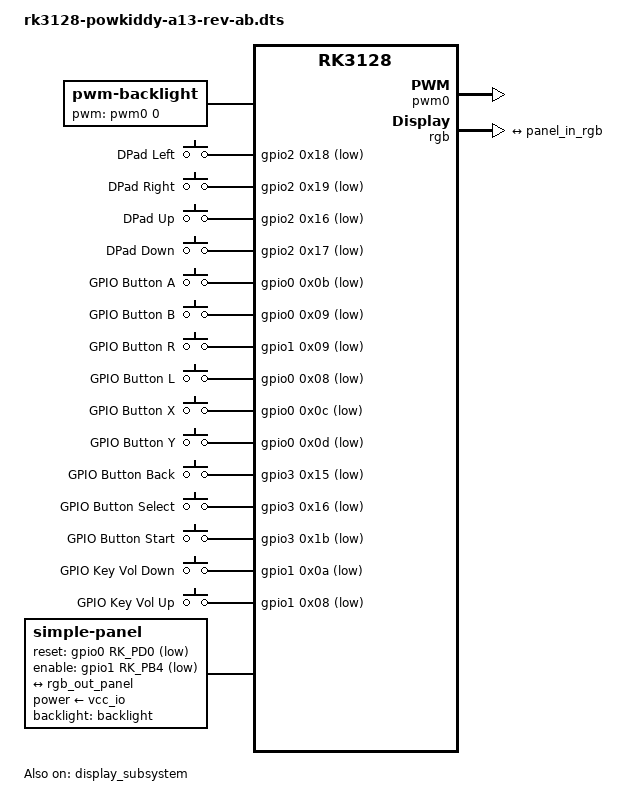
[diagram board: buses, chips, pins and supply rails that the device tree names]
/*
 * (C) Copyright 2021 Martin Cerveny
 *                    Alberto Pérez García-Plaza
 *
 * SPDX-License-Identifier:     GPL-2.0+
 */

/dts-v1/;

#include "rk3128-wx8.dtsi"
#include <dt-bindings/input/rk-input.h>

&pinctrl {
	lcdc {
		lcd_enable: lcd-enable {
			rockchip,pins = <RK_GPIO1 RK_PB4 0 &pcfg_pull_none>;
		};

		lcd_reset: lcd-reset {
			rockchip,pins = <RK_GPIO0 RK_PD0 0 &pcfg_pull_none>;
		};

  	lcdc_rgb_pins: lcdc-rgb-pins {
			rockchip,pins =
				<2 RK_PB0 1 &pcfg_pull_none>,	/* LCDC_DCLK */
				<2 RK_PB1 1 &pcfg_pull_none>,	/* LCDC_HSYNC */
				<2 RK_PB2 1 &pcfg_pull_none>,	/* LCDC_VSYNC */
				<2 RK_PB3 1 &pcfg_pull_none>,	/* LCDC_DEN */
				<2 RK_PB4 1 &pcfg_pull_none>,	/* LCDC_DATA10 */
				<2 RK_PB5 1 &pcfg_pull_none>,	/* LCDC_DATA11 */
				<2 RK_PB6 1 &pcfg_pull_none>,	/* LCDC_DATA12 */
				<2 RK_PB7 1 &pcfg_pull_none>,	/* LCDC_DATA13 */
				<2 RK_PC0 1 &pcfg_pull_none>,	/* LCDC_DATA14 */
				<2 RK_PC1 1 &pcfg_pull_none>,	/* LCDC_DATA15 */
				<2 RK_PC2 1 &pcfg_pull_none>,	/* LCDC_DATA16 */
				<2 RK_PC3 1 &pcfg_pull_none>;	/* LCDC_DATA17 */
		};

		lcdc_sleep_pins: lcdc-sleep-pins {
			rockchip,pins =
				<2 RK_PB0 0 &pcfg_pull_none>,	/* LCDC_DCLK */
				<2 RK_PB1 0 &pcfg_pull_none>,	/* LCDC_HSYNC */
				<2 RK_PB2 0 &pcfg_pull_none>,	/* LCDC_VSYNC */
				<2 RK_PB3 0 &pcfg_pull_none>,	/* LCDC_DEN */
				<2 RK_PB4 0 &pcfg_pull_none>,	/* LCDC_DATA10 */
				<2 RK_PB5 0 &pcfg_pull_none>,	/* LCDC_DATA11 */
				<2 RK_PB6 0 &pcfg_pull_none>,	/* LCDC_DATA12 */
				<2 RK_PB7 0 &pcfg_pull_none>,	/* LCDC_DATA13 */
				<2 RK_PC0 0 &pcfg_pull_none>,	/* LCDC_DATA14 */
				<2 RK_PC1 0 &pcfg_pull_none>,	/* LCDC_DATA15 */
				<2 RK_PC2 0 &pcfg_pull_none>,	/* LCDC_DATA16 */
				<2 RK_PC3 0 &pcfg_pull_none>;	/* LCDC_DATA17 */
		};

	};

	buttons {

    arcade_stick: arcade-stick {
      rockchip,pins = <
           RK_GPIO2 0x16 0x00 &pcfg_pull_default
           RK_GPIO2 0x17 0x00 &pcfg_pull_default
           RK_GPIO2 0x18 0x00 &pcfg_pull_default
           RK_GPIO2 0x19 0x00 &pcfg_pull_default
           RK_GPIO0 0x0b 0x00 &pcfg_pull_default
           RK_GPIO0 0x09 0x00 &pcfg_pull_default
           RK_GPIO0 0x0c 0x00 &pcfg_pull_default
           RK_GPIO0 0x0d 0x00 &pcfg_pull_default
           RK_GPIO0 0x08 0x00 &pcfg_pull_default
           RK_GPIO1 0x09 0x00 &pcfg_pull_default
           RK_GPIO3 0x16 0x00 &pcfg_pull_default
           RK_GPIO3 0x1b 0x00 &pcfg_pull_default
           RK_GPIO1 0x0a 0x00 &pcfg_pull_default
           RK_GPIO1 0x08 0x00 &pcfg_pull_default
           RK_GPIO3 0x15 0x00 &pcfg_pull_default
           >;
    };
	};
};

/ {
	backlight: backlight {
		compatible = "pwm-backlight";
		pwms = <&pwm0 0 25000 0>;
		default-brightness-level = <200>;
		brightness-levels = <
			  0   1   2   3   4   5   6   7
			  8   9  10  11  12  13  14  15
			 16  17  18  19  20  21  22  23
			 24  25  26  27  28  29  30  31
			 32  33  34  35  36  37  38  39
			 40  41  42  43  44  45  46  47
			 48  49  50  51  52  53  54  55
			 56  57  58  59  60  61  62  63
			 64  65  66  67  68  69  70  71
			 72  73  74  75  76  77  78  79
			 80  81  82  83  84  85  86  87
			 88  89  90  91  92  93  94  95
			 96  97  98  99 100 101 102 103
			104 105 106 107 108 109 110 111
			112 113 114 115 116 117 118 119
			120 121 122 123 124 125 126 127
			128 129 130 131 132 133 134 135
			136 137 138 139 140 141 142 143
			144 145 146 147 148 149 150 151
			152 153 154 155 156 157 158 159
			160 161 162 163 164 165 166 167
			168 169 170 171 172 173 174 175
			176 177 178 179 180 181 182 183
			184 185 186 187 188 189 190 191
			192 193 194 195 196 197 198 199
			200 201 202 203 204 205 206 207
			208 209 210 211 212 213 214 215
			216 217 218 219 220 221 222 223
			224 225 226 227 228 229 230 231
			232 233 234 235 236 237 238 239
			240 241 242 243 244 245 246 247
			248 249 250 251 252 253 254 255>;
		status = "okay";

	};

  stick {
    compatible = "gpio-keys-polled";
    poll-interval = <20>;
    pinctrl-0 = <&arcade_stick>;
		pinctrl-names = "default";

    left {
        label = "DPad Left";
        linux,code = <BTN_DPAD_LEFT>;
        gpios = <&gpio2 0x18 GPIO_ACTIVE_LOW>;
    };
    right {
        label = "DPad Right";
        linux,code = <BTN_DPAD_RIGHT>;
        gpios = <&gpio2 0x19 GPIO_ACTIVE_LOW>;
    };

    up {
        label = "DPad Up";
        linux,code = <BTN_DPAD_UP>;
        gpios = <&gpio2 0x16 GPIO_ACTIVE_LOW>;
    };
    down {
        label = "DPad Down";
        linux,code = <BTN_DPAD_DOWN>;
        gpios = <&gpio2 0x17 GPIO_ACTIVE_LOW>;
    };

    f1 {
      gpios = <&gpio0 0x0b 0x01>;
      label = "GPIO Button A";
      linux,code = <BTN_A>;
    };

    f2 {
      gpios = <&gpio0 0x09 0x01>;
      label = "GPIO Button B";
      linux,code = <BTN_B>;
    };

    f3 {
      gpios = <&gpio1 0x09 0x01>;
      label = "GPIO Button R";
      linux,code = <BTN_TR>;
    };

    f4 {
      gpios = <&gpio0 0x08 0x01>;
      label = "GPIO Button L";
      linux,code = <BTN_TL>;
    };

    f5 {
      gpios = <&gpio0 0x0c 0x01>;
      label = "GPIO Button X";
      linux,code = <BTN_X>;
    };

    f6 {
      gpios = <&gpio0 0x0d 0x01>;
      label = "GPIO Button Y";
      linux,code = <BTN_Y>;
    };

    f7 {
      gpios = <&gpio3 0x15 0x01>;
      label = "GPIO Button Back";
      linux,code = <BTN_BACK>;
    };

    select {
      gpios = <&gpio3 0x16 0x01>;
      label = "GPIO Button Select";
      linux,code = <BTN_SELECT>;
    };

    start {
      gpios = <&gpio3 0x1b 0x01>;
      label = "GPIO Button Start";
      linux,code = <BTN_START>;
    };

    vol-down-key {
      gpios = <&gpio1 0x0a 0x01>;
      label = "GPIO Key Vol Down";
      linux,code = <KEY_VOLUMEDOWN>;
    };

    vol-up-key {
      gpios = <&gpio1 0x08 0x01>;
      label = "GPIO Key Vol Up";
      linux,code = <KEY_VOLUMEUP>;
    };

  };

  panel {
		compatible = "simple-panel";
		power-supply = <&vcc_io>;
		backlight = <&backlight>;
		pinctrl-names = "default";
		pinctrl-0 = <&lcd_reset &lcd_enable>;
		reset-gpios = <&gpio0 RK_PD0 GPIO_ACTIVE_LOW>;
		enable-gpios = <&gpio1 RK_PB4 GPIO_ACTIVE_LOW>;
		reset-delay-ms = <60>;
		enable-delay-ms = <150>;
		prepare-delay-ms = <100>;
		unprepare-delay-ms = <2000>;
		init-delay-ms = <1000>;

		height-mm = <86>;
		width-mm = <154>;
		bus-format = <4105>;

		display-timings {
			native-mode = <&timing0>;

			timing0: timing0 {
				clock-frequency = <75200000>;

				hactive = <1024>;
				vactive = <600>;

        hback-porch = <160>;
        hfront-porch = <160>;
        hsync-active = <0>;
        hsync-len = <10>;
        vback-porch = <23>;
        vfront-porch = <12>;
        vsync-active = <0>;
        vsync-len = <10>;

        de-active = <0>;
        pixelclk-active = <1>;
			};
		};

		port {
			panel_in_rgb: endpoint {
				remote-endpoint = <&rgb_out_panel>;
			};
		};
	};
};

&pwm0 {
	status = "okay";
};

&display_subsystem {
	status = "okay";
	logo-memory-region = <&drm_logo>;

	route {
		route_rgb: route-rgb {
			connect = <&vop_out_rgb>;
			status = "okay";
		};

		route_hdmi: route-hdmi {
			connect = <&vop_out_hdmi>;
			status = "okay";
		};
	};

};

&rgb {
	status = "okay";

	ports {
		port@1 {
			reg = <1>;

			rgb_out_panel: endpoint {
				remote-endpoint = <&panel_in_rgb>;
			};
		};
	};
};
